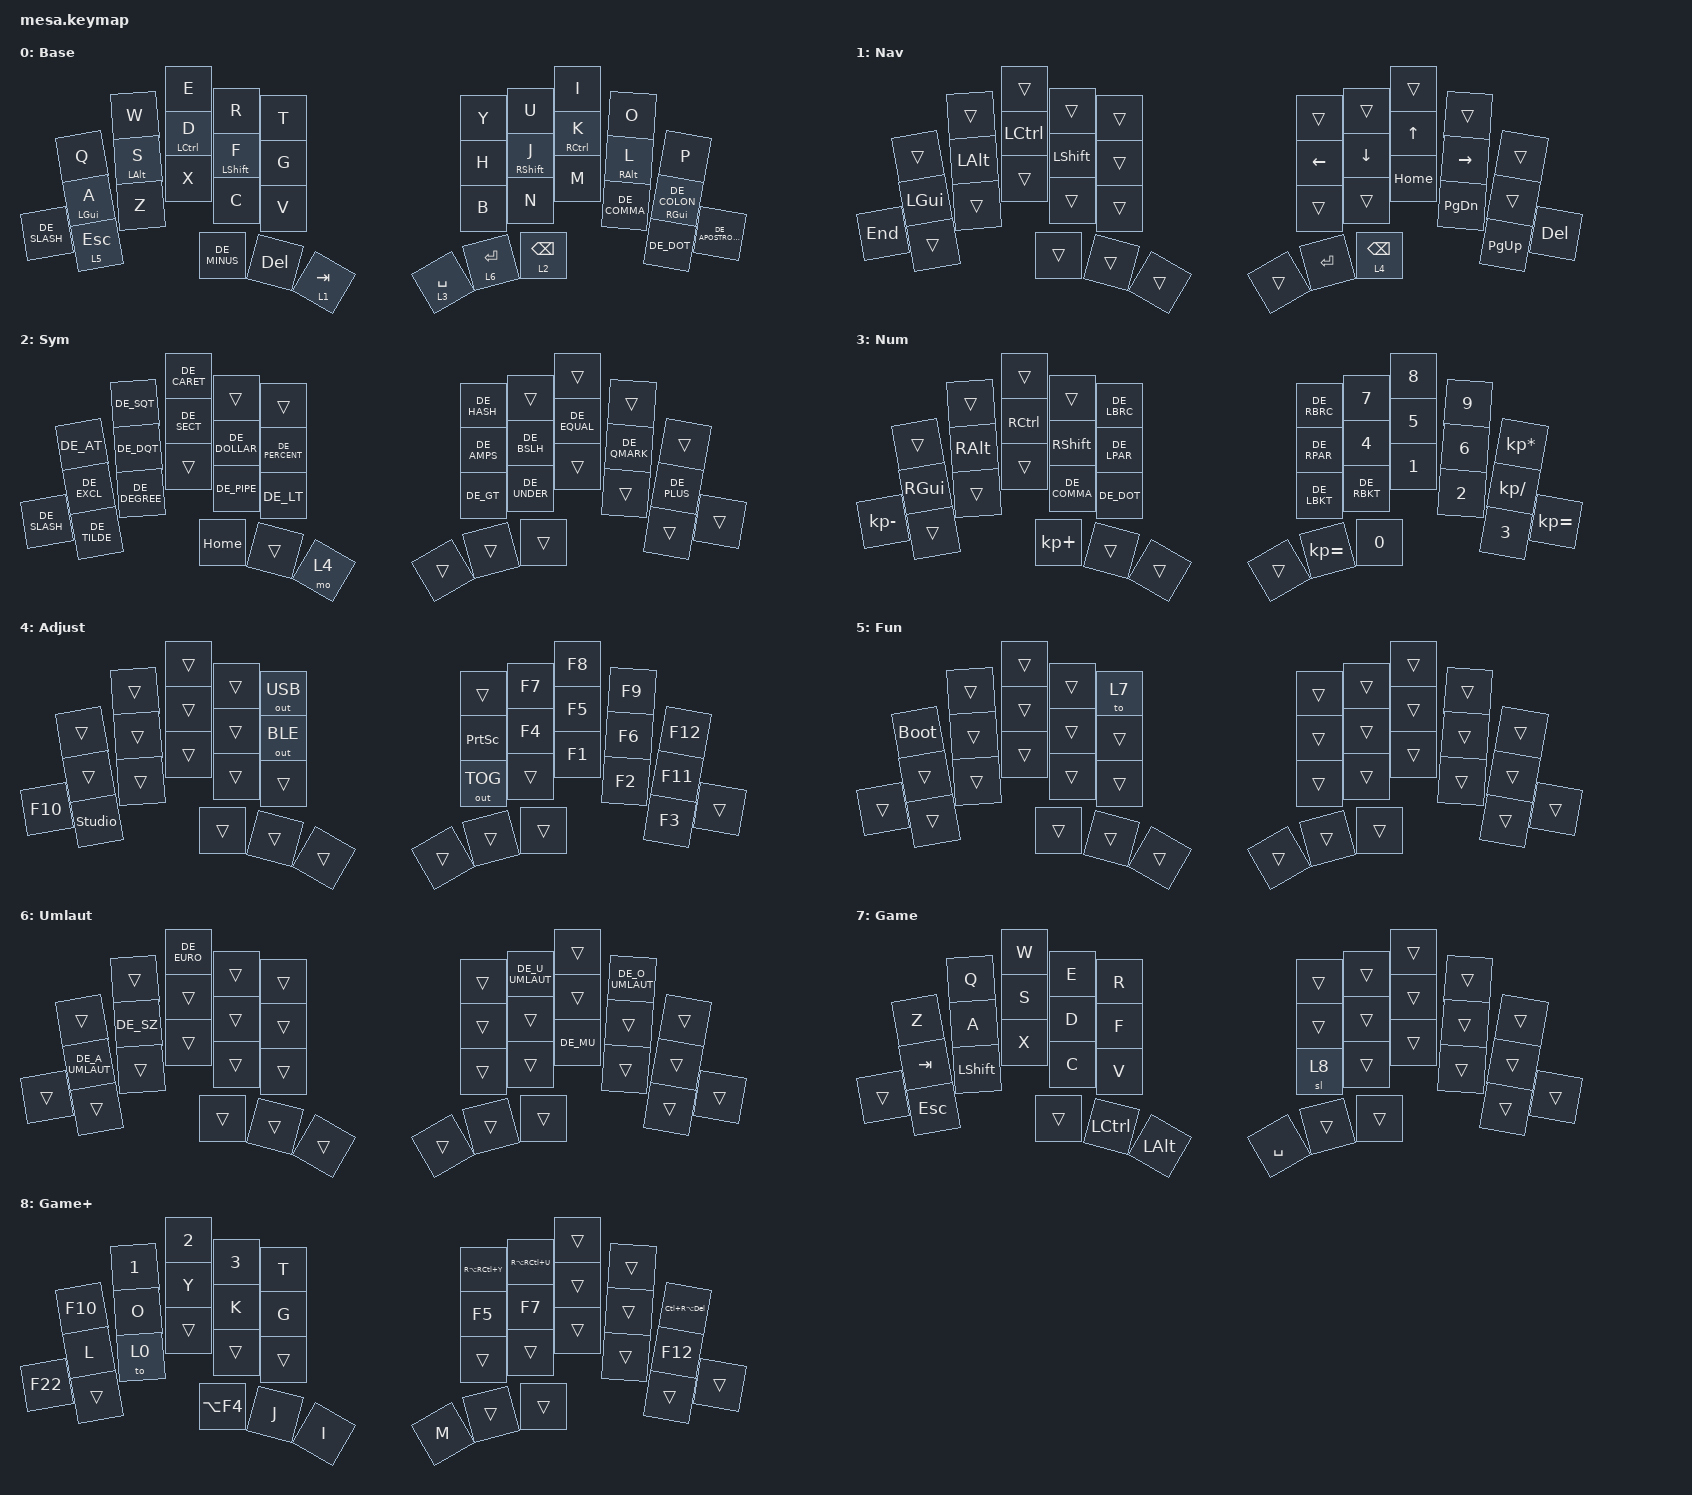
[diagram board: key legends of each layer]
//
//                                                        ▀▀▀▀▀     ▀▀▀▀▀          ▀▀█▀▀
//                                                        ▄▀▀▀▄  ▄  ▄▀▀▀▄  ▄  ▄▀▀▀▄  █  ▄▀▀▀▄
//                                                        █   █  █  █   █  █  █   █  █  █   █
//                                                         ▀▀▀   █   ▀▀▀   █   ▀▀▀   ▀   ▀▀▀
//                                                               █      ▄▄▄█▄▄▄    █   █  
//                                                               ▀      █  █  █     █▄█
//                                                             ▀▀▀▀▀    █  █  █      ▀
//                                                                      ▀  ▀  ▀
//
// ▄▄▄▄▄▄▄▄▄▄▄▄▄▄▄▄▄▄▄▄▄▄▄▄▄▄▄▄▄▄▄▄▄▄▄▄▄▄▄▄▄▄▄▄▄▄▄▄▄▄▄▄▄▄▄▄▄▄▄▄▄▄▄▄▄▄▄▄▄▄▄▄▄▄▄▄▄▄▄▄▄▄▄▄▄▄▄▄▄▄▄▄▄▄▄▄▄▄▄▄▄▄▄▄▄▄▄▄▄▄▄▄▄▄▄▄▄▄▄▄▄▄▄▄▄▄▄▄▄▄▄▄▄▄▄▄▄▄▄▄▄▄▄▄▄▄▄▄▄

#include <behaviors.dtsi>
#include <dt-bindings/zmk/keys.h>
#include <dt-bindings/zmk/outputs.h>
#include "keys_de.h"

#define Base        0
#define Nav         1
#define Sym         2
#define Num         3
#define Adjust      4
#define Fun         5
#define Umlaut      6
#define Game        7
#define Gameplus    8

&mt {
    quick-tap-ms = <100>;
    global-quick-tap;
    flavor = "tap-preferred";
    tapping-term-ms = <170>;
};

&lt {
    tapping-term-ms = <240>;
    flavor = "hold-preferred";
    quick-tap-ms = <150>;
};

/ {
    behaviors {
        hm: homerow_mods {
            compatible = "zmk,behavior-hold-tap";
            label = "HOMEROW_MODS";
            #binding-cells = <2>;
            flavor = "tap-preferred";
            tapping-term-ms = <200>;
            quick-tap-ms = <125>;
            global-quick-tap;
            bindings = <&kp>, <&kp>;
        };
    };

    combos { compatible = "zmk,combos"; };

    keymap {
        compatible = "zmk,keymap";

        Base {
            display-name = "Base";
            bindings = <
              &kp Q         &kp W       &kp E          &kp R         &kp T          &kp Y      &kp U        &kp I         &kp O       &kp P
              &hm LGUI A    &hm LALT S  &hm LCTRL D    &hm LSHIFT F  &kp G          &kp H      &hm RSHFT J  &hm RCTRL K   &hm RALT L  &hm RGUI DE_COLON
&lt 5 ESCAPE  &kp Z         &kp X       &kp C          &kp V         &kp B          &kp N      &kp M        &kp DE_COMMA  &kp DE_DOT  &kp DE_SLASH        &kp DE_MINUS
                                        &kp DEL        &lt 1 TAB     &lt 3 SPACE    &lt 6 RET  &lt 2 BSPC   &kp DE_APOSTROPHE
            >;
        };

        Nav {
            display-name = "Nav";
            bindings = <
        &trans      &trans      &trans      &trans      &trans          &trans      &trans          &trans          &trans       &trans
        &kp LGUI    &kp LALT    &kp LCTRL   &kp LSHIFT  &trans          &kp LEFT    &kp DOWN        &kp UP          &kp RIGHT    &trans
&trans  &trans      &trans      &trans      &trans      &trans          &trans      &kp HOME        &kp PAGE_DOWN   &kp PAGE_UP  &kp END  &trans
                                &trans      &trans      &trans          &kp ENTER   &lt 4 BACKSPACE   &kp DELETE
            >;
        };

        Sym {
            display-name = "Sym";
            bindings = <
             &kp DE_AT       &kp DE_SQT  &kp DE_CARET  &trans         &trans                 &kp DE_HASH      &trans          &trans         &trans        &trans
             &kp DE_EXCL     &kp DE_DQT  &kp DE_SECT   &kp DE_DOLLAR  &kp DE_PERCENT         &kp DE_AMPS      &kp DE_BSLH     &kp DE_EQUAL   &kp DE_QMARK  &kp DE_PLUS
&kp DE_TILDE &kp DE_DEGREE   &trans      &kp DE_PIPE   &kp DE_LT      &kp DE_GT              &kp DE_UNDER     &trans          &trans         &trans        &kp DE_SLASH  &kp HOME
                                    &trans        &mo 4          &trans                 &trans           &trans          &trans
            >;
        };

        Num {
            display-name = "Num";
            bindings = <
            &trans     &trans   &trans         &trans        &kp DE_LBRC            &kp DE_RBRC  &kp NUMBER_7  &kp NUMBER_8  &kp NUMBER_9   &kp KP_MULTIPLY
            &kp RGUI   &kp RALT &kp RCTRL      &kp RSHIFT    &kp DE_LPAR            &kp DE_RPAR  &kp NUMBER_4  &kp NUMBER_5  &kp NUMBER_6   &kp KP_DIVIDE
&trans      &trans     &trans   &kp DE_COMMA   &kp DE_DOT    &kp DE_LBKT            &kp DE_RBKT  &kp NUMBER_1  &kp NUMBER_2  &kp NUMBER_3   &kp KP_MINUS     &kp KP_PLUS
                                           &trans    &trans     &trans              &kp KP_EQUAL &kp NUMBER_0  &kp KP_EQUAL
            >;
        };

        Adjust {
            display-name = "Adjust";
            bindings = <
                &trans    &trans  &trans    &trans      &out OUT_USB         &trans     &kp F7      &kp F8    &kp F9   &kp F12
                &trans    &trans  &trans    &trans      &out OUT_BLE         &kp PSCRN  &kp F4      &kp F5    &kp F6   &kp F11
&studio_unlock  &trans    &trans  &trans    &trans      &out OUT_TOG         &trans     &kp F1      &kp F2    &kp F3   &kp F10  &trans
                                  &trans    &trans      &trans               &trans     &trans      &trans
            >;
        };

        Fun {
            display-name = "Fun";
            bindings = <
        &bootloader  &trans  &trans  &trans  &to 7     &trans  &trans  &trans  &trans   &trans
        &trans       &trans  &trans  &trans  &trans    &trans  &trans  &trans  &trans   &trans
&trans  &trans       &trans  &trans  &trans  &trans    &trans  &trans  &trans  &trans   &trans  &trans
                             &trans  &trans  &trans    &trans  &trans  &trans
            >;
        };

        Umlaut {
            display-name = "Umlaut";
            bindings = <
        &trans           &trans     &kp DE_EURO  &trans  &trans    &trans  &kp DE_U_UMLAUT  &trans  &kp DE_O_UMLAUT   &trans
        &kp DE_A_UMLAUT  &kp DE_SZ  &trans       &trans  &trans    &trans  &trans           &trans  &trans            &trans
&trans  &trans           &trans     &trans       &trans  &trans    &trans  &kp DE_MU        &trans  &trans  &trans            &trans
                                    &trans       &trans  &trans    &trans  &trans  &trans
            >;
        };

        Gaming {
            display-name = "Game";
            bindings = <
            &kp Z           &kp Q  &kp W      &kp E         &kp R     &trans  &trans  &trans  &trans  &trans
            &kp TAB         &kp A  &kp S      &kp D         &kp F     &trans  &trans  &trans  &trans  &trans
&kp ESCAPE  &kp LEFT_SHIFT  &kp X  &kp C      &kp V         &sl 8     &trans  &trans  &trans  &trans  &trans  &trans
                                   &kp LCTRL  &kp LEFT_ALT  &kp SPACE    &trans  &trans  &trans
            >;
        };

        Gaming+ {
            display-name = "Game+";
            bindings = <
        &kp F10  &kp NUMBER_1  &kp NUMBER_2  &kp NUMBER_3  &kp T     &kp RA(RC(Y))  &kp RA(RC(U))  &trans  &trans  &kp LC(RA(DEL))
        &kp L    &kp O         &kp Y         &kp K         &kp G     &kp F5         &kp F7         &trans  &trans  &kp F12
&trans  &to 0    &trans        &trans        &trans        &trans    &trans         &trans         &trans  &trans  &kp F22          &kp LA(F4)
                               &kp J         &kp I         &kp M     &trans         &trans         &trans
            >;
        };
    };
};
